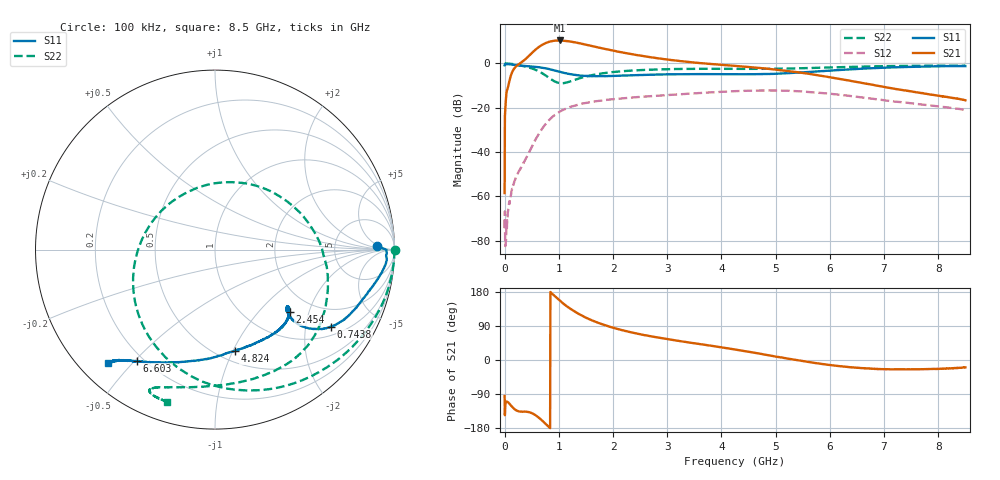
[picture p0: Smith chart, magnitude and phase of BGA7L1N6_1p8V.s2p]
! (c) 2014 Infineon Technologies AG
! BGA7M1N6 - Silicon Germanium Low Noise Amplifier for LTE
! 03 October 2014
! Special Application Board
! C1 = L1 = 0 Ohm
! C2 = 100 nF
! Vcc = 1.8V
! RF input and output lines de-embedded
! Port 1 reference plane: LNA input AI (pin 5)
! Port 2 reference plane: LNA output AO (pin 3)
! Network Data:
! Measured BGA7L1N6 device level s-parameters
# Hz S dB R 50
!Freq  MagS11  AngS11  MagS21  AngS21  MagS12  AngS12  MagS22  AngS22
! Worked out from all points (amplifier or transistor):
!   1601 points, 100 kHz to 8.5 GHz, reference 50 ohm
!   highest |S21| = 10.3 dB at 1.015 GHz (marker M1)
!   |S21| within 3 dB of that: 629.1 MHz to 1.699 GHz (1.07 GHz wide, 91.9 % of centre)
!   unconditionally stable (mu >= 1): 8.053 MHz to end of sweep
!   at 1.413 GHz: K = 1.19, MAG = 11.0 dB, |S12| = -18.3 dB
!   at 4.25 GHz: K = 1.23, MAG = 2.8 dB, |S12| = -12.5 dB
!   at 8.5 GHz: K = 2.62, MAG = -4.8 dB, |S12| = -21.0 dB
!   lowest NFmin = 0.59 dB at 780 MHz
!   S11 on the Smith chart (normalised r, x): 100 kHz: 19, +4; 743.8 MHz: 1.29, -2.78; 2.454 GHz: 1.52, -1.51; 4.824 GHz: 0.60, -1.01; 6.603 GHz: 0.17, -0.51; 8.5 GHz: 0.08, -0.43
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100000  -0.87 1.3  -58.50 -95.1  -74.27 -60.3  0.01 -0.1
4.791194e7  -0.38 -3.0  -11.96 -110.3  -70.69 147.9  -0.04 -8.4
1.329109e8  -0.55 -7.8  -4.33 -122.7  -57.19 142.8  -0.27 -22.9
4.197826e8  -1.28 -19.7  2.68 -136.5  -41.59 162.3  -1.65 -71.0
5.579059e8  -1.56 -25.4  5.91 -144.6  -34.93 168.2  -2.78 -98.4
6.535298e8  -1.83 -29.5  7.73 -154.8  -30.89 164.2  -3.90 -119.9
7.438412e8  -2.20 -33.5  9.00 -166.6  -27.77 156.9  -5.24 -142.8
8.766522e8  -2.92 -38.3  10.04 175.0  -24.25 143.6  -7.49 177.3
1.014776e9  -3.81 -41.3  10.32 157.0  -21.81 129.8  -8.92 130.4
1.200711e9  -4.84 -42.1  9.88 136.3  -19.74 113.7  -8.24 76.0
1.418521e9  -5.54 -40.5  8.85 117.7  -18.23 99.5  -6.51 37.1
1.631018e9  -5.77 -38.6  7.69 103.4  -17.28 88.7  -5.22 13.9
1.854141e9  -5.80 -38.1  6.50 91.9  -16.55 80.4  -4.37 -2.8
2.11445e9  -5.58 -38.4  5.20 80.8  -15.88 72.2  -3.67 -16.3
2.454446e9  -5.31 -40.1  3.65 69.4  -15.20 64.2  -3.11 -29.1
2.836942e9  -5.05 -43.7  2.23 59.1  -14.58 57.1  -2.73 -39.7
4.25005e9  -4.92 -64.5  -1.14 27.7  -12.54 33.8  -2.49 -70.0
4.823793e9  -4.81 -79.1  -2.38 13.6  -12.22 21.8  -2.47 -83.8
5.668471e9  -3.81 -104.6  -4.95 -6.6  -12.98 3.7  -2.08 -103.1
6.60346e9  -2.41 -124.9  -8.87 -21.4  -15.38 -9.1  -1.47 -114.0
7.086892e9  -1.87 -129.9  -11.00 -24.4  -16.90 -10.9  -1.25 -114.9
8.5e9  -1.24 -133.3  -16.66 -19.5  -21.05 -1.5  -1.03 -107.5
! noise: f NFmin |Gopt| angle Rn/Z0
7e+08  0.6365  0.5534  24.59  0.2314
7.2e+08  0.6206  0.5631  25.98  0.227
7.6e+08  0.5969  0.5872  27.62  0.2234
7.8e+08  0.5907  0.5785  28.14  0.2055
8.2e+08  0.6185  0.5491  28.46  0.2129
8.4e+08  0.6208  0.5488  29.52  0.2131
8.8e+08  0.6305  0.5561  31.8  0.2058
9e+08  0.6434  0.5552  32.49  0.2021
9.4e+08  0.6426  0.5445  33.84  0.2126
9.8e+08  0.6451  0.5287  34.08  0.2171
